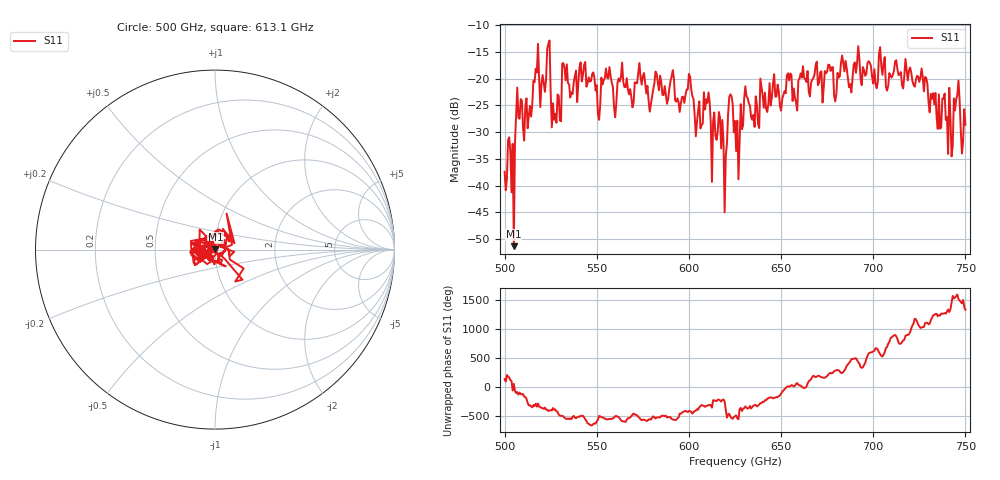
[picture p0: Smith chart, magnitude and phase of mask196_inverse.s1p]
!Created with skrf (http://scikit-rf.org).
# GHz S MA R 50.0
!freq magS11 angS11
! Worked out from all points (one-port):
!   401 points, 500 GHz to 750 GHz, reference 50 ohm
!   lowest |S11| = -51.3 dB at 505 GHz (marker M1), VSWR 1.01, Z = 50.2 + j0.207 ohm
!   |S11| at or under -10 dB: start of sweep to end of sweep
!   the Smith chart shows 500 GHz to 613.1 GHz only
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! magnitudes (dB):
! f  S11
! 500 GHz  -37.4
! 505 GHz  -51.3
! 507.5 GHz  -27.3
! 513.8 GHz  -25.1
! 516.9 GHz  -18.2
! 520.6 GHz  -19.3
! 523.8 GHz  -13.5
! 526.9 GHz  -27.7
! 531.2 GHz  -17.2
! 542.5 GHz  -19.3
! 550.6 GHz  -26.7
! 562.5 GHz  -20.5
! 593.8 GHz  -23.7
! 609.4 GHz  -23.9
! 618.8 GHz  -31.8
! 622.5 GHz  -22.9
! 625 GHz  -27.9
! 628.1 GHz  -24.8
! 631.2 GHz  -23.4
! 656.2 GHz  -24.2
! 680 GHz  -22.9
! 683.8 GHz  -17.1
! 687.5 GHz  -21.0
! 691.2 GHz  -17.0
! 718.8 GHz  -20.4
! 741.9 GHz  -27.3
! 745 GHz  -23.9
! 750 GHz  -28.6
